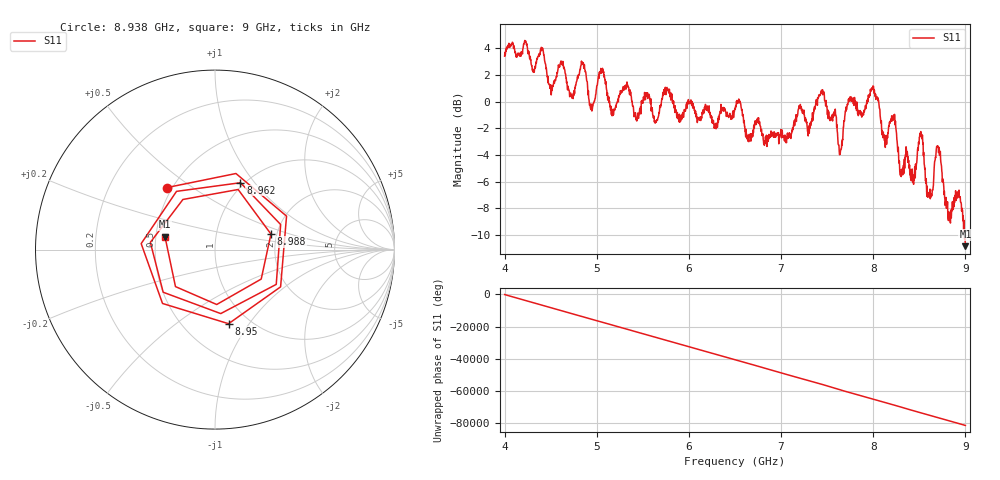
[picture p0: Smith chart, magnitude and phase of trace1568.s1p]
! Created with skrf 1.8.0 (http://scikit-rf.org).
# Hz S RI R 50.0
!freq ReS11 ImS11
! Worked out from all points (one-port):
!   1601 points, 4 GHz to 9 GHz, reference 50 ohm
!   lowest |S11| = -10.8 dB at 9 GHz (marker M1), VSWR 1.81, Z = 28 + j4.35 ohm
!   |S11| at or under -10 dB: 8.989182 GHz to end of sweep
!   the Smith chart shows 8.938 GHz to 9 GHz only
!   S11 on the Smith chart (normalised r, x): 8.938 GHz: 0.47, +0.40; 8.95 GHz: 0.80, -0.81; 8.962 GHz: 0.96, +0.85; 8.988 GHz: 1.86, +0.36; 9 GHz: 0.56, +0.09
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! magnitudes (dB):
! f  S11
! 4 GHz  3.4
! 4.406 GHz  4.0
! 4.503 GHz  0.8
! 4.625 GHz  3.0
! 4.728 GHz  0.3
! 4.853 GHz  2.9
! 4.944 GHz  -0.2
! 5.05 GHz  2.3
! 5.169 GHz  -0.9
! 5.25 GHz  0.6
! 5.875 GHz  -0.8
! 6.5 GHz  -0.5
! 7.125 GHz  -2.0
! 7.444 GHz  0.8
! 7.644 GHz  -3.7
! 7.75 GHz  0.3
! 7.994 GHz  1.1
! 8.375 GHz  -4.5
! 8.438 GHz  -6.2
! 8.516 GHz  -2.2
! 8.612 GHz  -7.0
! 8.706 GHz  -3.4
! 8.812 GHz  -8.7
! 8.938 GHz  -7.2
! 8.95 GHz  -7.5
! 8.962 GHz  -8.0
! 8.988 GHz  -9.8
! 9 GHz  -10.8
